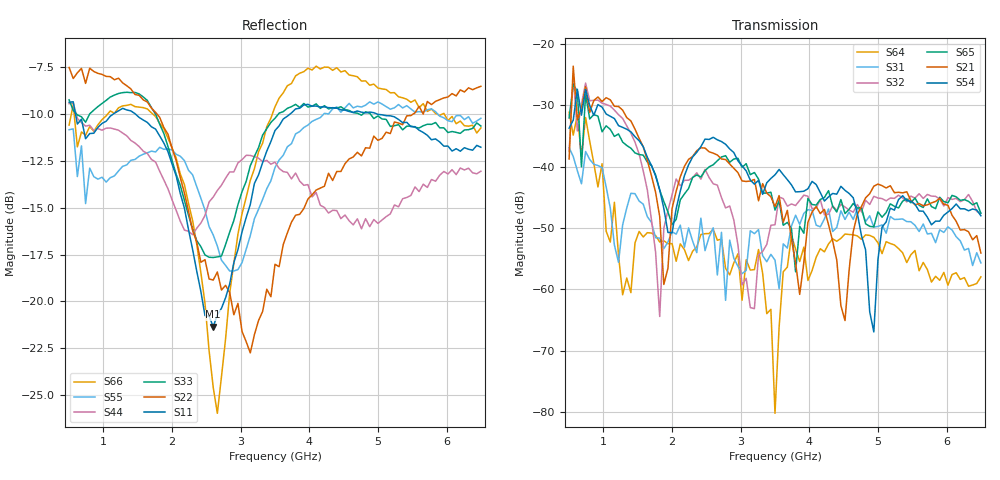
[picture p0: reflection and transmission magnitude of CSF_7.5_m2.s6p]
!Keysight Technologies,M9804A,MY58100912,A.14.10.03
!Date: Thursday, April 27, 2023 10:28:33
!Correction: S11(C  6-Port  )
!S12(C  6-Port  )
!S13(C  6-Port  )
!S14(C  6-Port  )
!S15(C  6-Port  )
!S16(C  6-Port  )
!S21(C  6-Port  )
!S22(C  6-Port  )
!S23(C  6-Port  )
!S24(C  6-Port  )
!S25(C  6-Port  )
!S26(C  6-Port  )
!S31(C  6-Port  )
!S32(C  6-Port  )
!S33(C  6-Port  )
!S34(C  6-Port  )
!S35(C  6-Port  )
!S36(C  6-Port  )
!S41(C  6-Port  )
!S42(C  6-Port  )
!S43(C  6-Port  )
!S44(C  6-Port  )
!S45(C  6-Port  )
!S46(C  6-Port  )
!S51(C  6-Port  )
!S52(C  6-Port  )
!S53(C  6-Port  )
!S54(C  6-Port  )
!S55(C  6-Port  )
!S56(C  6-Port  )
!S61(C  6-Port  )
!S62(C  6-Port  )
!S63(C  6-Port  )
!S64(C  6-Port  )
!S65(C  6-Port  )
!S66(C  6-Port  )
!S6P File: Measurement: :
# Hz S  RI  R 50
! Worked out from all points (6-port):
!   101 points, 500 MHz to 6.5 GHz, reference 50 ohm
!   strongest paths, dB at 500 MHz, 2 GHz, 3.5 GHz, 5 GHz, 6.5 GHz:
!     S54: -33.7, -50.8, -41.3, -55.2, -48.0
!     S21: -38.7, -46.8, -46.5, -42.8, -54.1
!     S65: -32.1, -49.4, -47.1, -47.4, -47.6
!     S32: -37.5, -44.6, -49.5, -45.1, -47.6
!     S31: -36.9, -50.6, -55.2, -49.7, -55.7
!     S64: -31.1, -52.5, -80.2, -52.4, -58.0
!   lowest |S11| = -21.4 dB at 2.6 GHz (marker M1), VSWR 1.19, Z = 42.4 + j2.29 ohm
!   |S11| at or under -10 dB: 593.5 MHz to 1.139 GHz (545.6 MHz wide, 63 % of centre); 1.47 GHz to 3.716 GHz (2.246 GHz wide, 86.6 % of centre); 4.996 GHz to end of sweep
